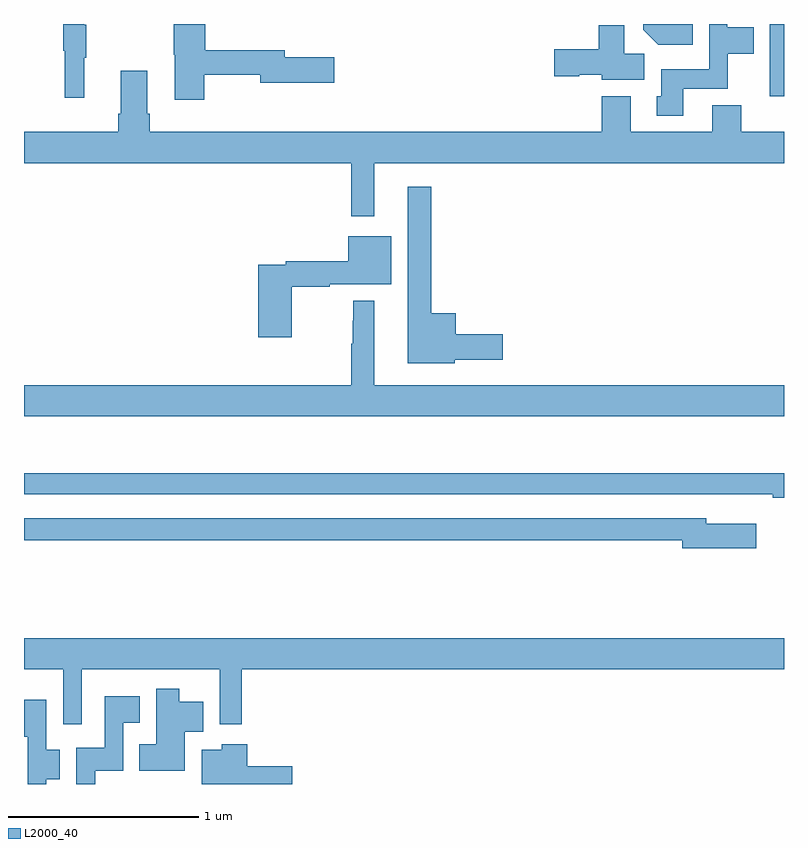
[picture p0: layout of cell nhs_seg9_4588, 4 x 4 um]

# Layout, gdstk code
import gdstk
lib = gdstk.Library(unit=1e-6, precision=1e-09)
def R(c, l, rs):  # rectangles x0, y0, x1, y1
    for r in rs: c.add(gdstk.rectangle(r[:2], r[2:], *l))
def P(c, l, *ps):  # polygons
    for p in ps: c.add(gdstk.Polygon(p, *l))
L2000_40 = (2000, 40)

nhs_seg9_4588 = lib.new_cell('nhs_seg9_4588')
R(nhs_seg9_4588, L2000_40, [(378.926,1182.12,379,1182.5)])
P(nhs_seg9_4588, L2000_40, [(378.469,1182.158),(378.705,1182.158),(378.705,1182.344),(378.841,1182.344),(378.841,1182.484),(378.702,1182.484),(378.702,1182.5),(378.606,1182.5),(378.606,1182.262),(378.353,1182.262),(378.353,1182.12),(378.329,1182.12),(378.329,1182.018),(378.469,1182.018)],
  [(375.948,1182.234),(376.244,1182.234),(376.244,1182.191),(376.633,1182.191),(376.633,1182.326),(376.372,1182.326),(376.372,1182.362),(375.953,1182.362),(375.953,1182.5),(375.787,1182.5),(375.787,1182.339),(375.794,1182.339),(375.794,1182.102),(375.948,1182.102)],
  [(375.317,1182.323),(375.328,1182.323),(375.328,1182.497),(375.317,1182.497),(375.317,1182.5),(375.207,1182.5),(375.207,1182.36),(375.214,1182.36),(375.214,1182.111),(375.317,1182.111)],
  [(378.521,1182.5),(378.26,1182.5),(378.26,1182.47),(378.338,1182.392),(378.521,1182.392)],
  [(378.265,1182.344),(378.159,1182.344),(378.159,1182.493),(378.026,1182.493),(378.026,1182.368),(377.79,1182.368),(377.79,1182.226),(377.922,1182.226),(377.922,1182.233),(378.042,1182.233),(378.042,1182.206),(378.265,1182.206)],
  [(379,1181.932),(378.776,1181.932),(378.776,1182.073),(378.623,1182.073),(378.623,1181.932),(378.193,1181.932),(378.193,1182.121),(378.041,1182.121),(378.041,1181.932),(375.662,1181.932),(375.662,1182.028),(375.649,1182.028),(375.649,1182.253),(375.509,1182.253),(375.509,1182.028),(375.497,1182.028),(375.497,1181.932),(375,1181.932),(375,1181.768),(376.722,1181.768),(376.722,1181.487),(376.843,1181.487),(376.843,1181.768),(379,1181.768)],
  [(377.268,1180.733),(377.521,1180.733),(377.521,1180.868),(377.272,1180.868),(377.272,1180.978),(377.143,1180.978),(377.143,1181.644),(377.021,1181.644),(377.021,1180.715),(377.268,1180.715)],
  [(376.41,1181.116),(376.61,1181.116),(376.61,1181.129),(376.933,1181.129),(376.933,1181.383),(376.706,1181.383),(376.706,1181.252),(376.378,1181.252),(376.378,1181.232),(376.232,1181.232),(376.232,1180.851),(376.41,1180.851)],
  [(379,1180.6),(376.843,1180.6),(376.843,1181.044),(376.732,1181.044),(376.732,1180.937),(376.729,1180.937),(376.729,1180.817),(376.722,1180.817),(376.722,1180.6),(375,1180.6),(375,1180.436),(379,1180.436)],
  [(379,1180.135),(375,1180.135),(375,1180.026),(378.688,1180.026),(378.688,1180.025),(378.94,1180.025),(378.94,1180.006),(379,1180.006)],
  [(378.853,1179.871),(378.592,1179.871),(378.592,1179.9),(375,1179.9),(375,1179.784),(378.464,1179.784),(378.464,1179.742),(378.853,1179.742)],
  [(375.303,1179.104),(376.029,1179.104),(376.029,1178.814),(376.145,1178.814),(376.145,1179.104),(379,1179.104),(379,1179.268),(375,1179.268),(375,1179.104),(375.207,1179.104),(375.207,1178.814),(375.303,1178.814)],
  [(375.847,1178.774),(375.944,1178.774),(375.944,1178.932),(375.817,1178.932),(375.817,1179.001),(375.695,1179.001),(375.695,1178.71),(375.607,1178.71),(375.607,1178.57),(375.847,1178.57)],
  [(375.375,1178.57),(375.522,1178.57),(375.522,1178.822),(375.61,1178.822),(375.61,1178.962),(375.426,1178.962),(375.426,1178.692),(375.276,1178.692),(375.276,1178.5),(375.375,1178.5)],
  [(375.117,1178.524),(375.187,1178.524),(375.187,1178.679),(375.117,1178.679),(375.117,1178.944),(375,1178.944),(375,1178.846),(375.001,1178.846),(375.001,1178.75),(375.021,1178.75),(375.021,1178.5),(375.117,1178.5)],
  [(376.411,1178.594),(376.175,1178.594),(376.175,1178.71),(376.04,1178.71),(376.04,1178.68),(375.935,1178.68),(375.935,1178.5),(376.411,1178.5)])

lib.write_gds('nhs_seg9_4588.gds')
